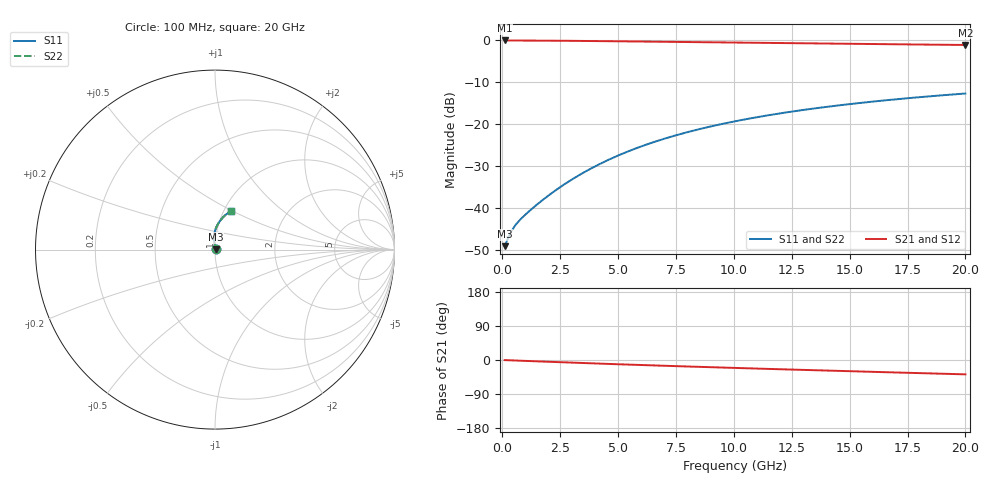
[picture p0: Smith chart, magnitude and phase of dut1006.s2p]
! Touchstone file exported from HFSS 2024.1.0
!  File:  C:/UserFiles/LocalFiles/RDL_TSV_Batchsim/temp_RDL_bottom_1006_1780050140.aedt
!  Generated:  06:24:38 PM May 29, 2026
!  Design:  RDL_bottom
!  Project:  temp_RDL_bottom_1006_1780050140
!  Setup:  Setup1
!  Solution:  Sweep
! Variables:
!  dtsv = 10.80580581um
!  hbump = 3um
!  htsv = 62.8um
!  ldown = 620.57um
!  lrdl = 100um
!  p = 40
!  p1 = 42.67um
!  rhole = 1um
!  t = 450um
!  tdown = 2.48um
!  trdl = 3.915915916um
!  wdown = 29.87um
!  wrdl = 20um
# GHz S MA R 50.000000
! Terminal data exported
! Port[1] = RDL1_T1
! Port[2] = RDL1_T2
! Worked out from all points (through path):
!   200 points, 100 MHz to 20 GHz, reference 50 ohm
!   highest |S21| = -0.03 dB at 100 MHz (marker M1); lowest = -1.1 dB at 20 GHz (marker M2)
!   group delay of S21, straight-line fit = 5.17 ps
!   lowest |S11| = -49.1 dB at 100 MHz (marker M3), VSWR 1.01, Z = 50.3 + j0.103 ohm
!   |S11| at or under -10 dB: start of sweep to end of sweep
!   |S22| runs from -49.1 to -12.7 dB; largest |S21 - S12| = 3.4e-15
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0.1  0.003488 17.1  0.9966 -0.3  0.9966 -0.3  0.003488 17.1
! Gamma 0 0 0 0
! Port Impedance 50 0 50 0
0.3  0.004679 36.5  0.9961 -0.8  0.9961 -0.8  0.004679 36.5
0.4  0.005296 41.3  0.9958 -1.0  0.9958 -1.0  0.005297 41.3
0.5  0.005862 45.0  0.9954 -1.2  0.9954 -1.2  0.005862 45.0
0.7  0.006877 51.1  0.9949 -1.7  0.9949 -1.7  0.006878 51.1
1  0.008322 59.1  0.9941 -2.4  0.9941 -2.4  0.008323 59.1
1.6  0.01155 72.1  0.9923 -3.8  0.9923 -3.8  0.01155 72.0
2.2  0.01546 81.1  0.9901 -5.1  0.9901 -5.1  0.01546 81.1
2.8  0.02007 87.3  0.9874 -6.5  0.9874 -6.5  0.02007 87.3
3.5  0.02628 91.9  0.9836 -8.0  0.9836 -8.0  0.02627 91.8
4.2  0.03329 94.5  0.9794 -9.5  0.9794 -9.5  0.03327 94.5
5  0.04212 95.9  0.9741 -11.2  0.9741 -11.2  0.0421 95.9
5.9  0.0529 96.1  0.9679 -13.1  0.9679 -13.1  0.05287 96.1
6.8  0.06432 95.4  0.9616 -14.9  0.9616 -14.9  0.06428 95.4
7.6  0.07484 94.3  0.9559 -16.4  0.9559 -16.4  0.0748 94.2
8.4  0.08558 92.8  0.9503 -17.9  0.9503 -17.9  0.08553 92.8
10.1  0.1087 89.3  0.9387 -21.0  0.9387 -21.0  0.1086 89.3
11.7  0.1303 85.7  0.9283 -23.9  0.9283 -23.9  0.1302 85.7
13.4  0.1528 81.8  0.9178 -26.9  0.9178 -26.9  0.1527 81.8
15  0.1732 78.2  0.9083 -29.6  0.9083 -29.6  0.1731 78.2
16.7  0.1941 74.5  0.8985 -32.4  0.8985 -32.4  0.194 74.4
20  0.2318 67.6  0.8805 -37.9  0.8805 -37.9  0.2317 67.6
